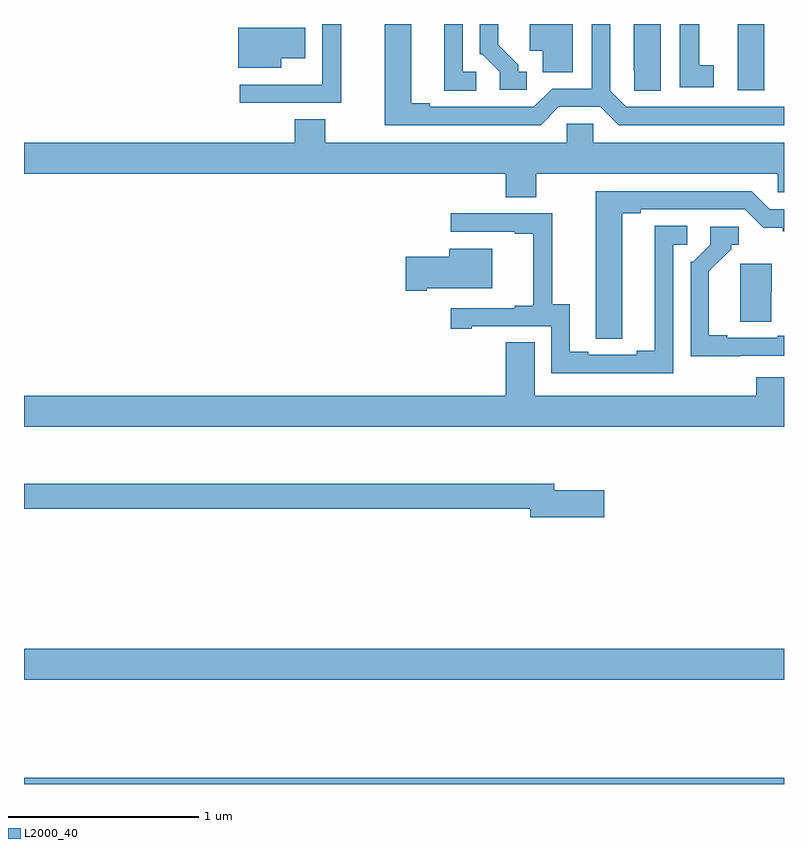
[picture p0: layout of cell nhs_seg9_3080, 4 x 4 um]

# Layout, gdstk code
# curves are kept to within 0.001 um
import gdstk
lib = gdstk.Library(unit=1e-6, precision=1e-09)
def R(c, l, rs):  # rectangles x0, y0, x1, y1
    for r in rs: c.add(gdstk.rectangle(r[:2], r[2:], *l))
def P(c, l, *ps):  # polygons
    for p in ps: c.add(gdstk.Polygon(p, *l))
L2000_40 = (2000, 40)

nhs_seg9_3080 = lib.new_cell('nhs_seg9_3080')
R(nhs_seg9_3080, L2000_40, [(287,1234.5,291,1234.532), (287,1235.048,291,1235.212), (290.756,1238.151,290.896,1238.5)])
P(nhs_seg9_3080, L2000_40, [(290.35,1238.5),(290.21,1238.5),(290.21,1238.257),(290.211,1238.257),(290.211,1238.149),(290.35,1238.149)],
  [(289.888,1238.5),(289.661,1238.5),(289.661,1238.36),(289.73,1238.36),(289.73,1238.245),(289.888,1238.245)],
  [(289.381,1238.25),(289.308,1238.25),(289.308,1238.5),(289.211,1238.5),(289.211,1238.149),(289.381,1238.149)],
  [(289.815,1238.064),(290.033,1238.064),(290.129,1237.968),(291,1237.968),(291,1238.064),(290.169,1238.064),(290.085,1238.148),(290.085,1238.5),(289.989,1238.5),(289.989,1238.16),(289.779,1238.16),(289.683,1238.064),(289.135,1238.064),(289.135,1238.084),(289.039,1238.084),(289.039,1238.5),(288.899,1238.5),(288.899,1237.968),(289.719,1237.968)],
  [(289.645,1238.25),(289.6,1238.25),(289.6,1238.285),(289.495,1238.39),(289.495,1238.5),(289.398,1238.5),(289.398,1238.34),(289.413,1238.34),(289.503,1238.25),(289.503,1238.154),(289.645,1238.154)],
  [(290.629,1238.282),(290.554,1238.282),(290.554,1238.5),(290.45,1238.5),(290.45,1238.166),(290.629,1238.166)],
  [(288.669,1238.5),(288.57,1238.5),(288.57,1238.182),(288.569,1238.182),(288.569,1238.181),(288.135,1238.181),(288.135,1238.085),(288.669,1238.085)],
  [(288.355,1238.321),(288.481,1238.321),(288.481,1238.479),(288.128,1238.479),(288.128,1238.27),(288.355,1238.27)],
  [(289.695,1237.712),(290.967,1237.712),(290.967,1237.614),(291,1237.614),(291,1237.876),(289.995,1237.876),(289.995,1237.974),(289.857,1237.974),(289.857,1237.876),(288.585,1237.876),(288.585,1238),(288.425,1238),(288.425,1237.876),(287,1237.876),(287,1237.712),(289.535,1237.712),(289.535,1237.588),(289.695,1237.588)],
  [(290.149,1237.504),(290.245,1237.504),(290.245,1237.524),(290.793,1237.524),(290.891,1237.427),(290.994,1237.427),(290.994,1237.408),(291,1237.408),(291,1237.524),(290.925,1237.524),(290.829,1237.62),(290.009,1237.62),(290.01,1236.844),(290.149,1236.844)],
  [(290.418,1237.338),(290.491,1237.338),(290.491,1237.439),(290.321,1237.439),(290.321,1236.779),(290.225,1236.779),(290.225,1236.759),(289.969,1236.759),(289.969,1236.774),(289.873,1236.774),(289.873,1237.025),(289.779,1237.025),(289.779,1237.503),(289.245,1237.503),(289.245,1237.407),(289.583,1237.407),(289.583,1237.395),(289.679,1237.395),(289.679,1237.018),(289.583,1237.018),(289.583,1237.005),(289.245,1237.005),(289.245,1236.897),(289.357,1236.897),(289.357,1236.909),(289.776,1236.909),(289.776,1236.663),(290.418,1236.663)],
  [(290.771,1236.753),(291,1236.753),(291,1236.86),(290.966,1236.86),(290.966,1236.849),(290.701,1236.849),(290.701,1236.862),(290.605,1236.862),(290.605,1237.198),(290.722,1237.315),(290.722,1237.338),(290.761,1237.338),(290.761,1237.434),(290.613,1237.434),(290.613,1237.338),(290.523,1237.248),(290.508,1237.248),(290.508,1236.752)],
  [(289.12,1237.109),(289.465,1237.109),(289.465,1237.318),(289.238,1237.318),(289.238,1237.275),(289.008,1237.275),(289.008,1237.097),(289.12,1237.097)],
  [(290.934,1237.092),(290.935,1237.092),(290.935,1237.237),(290.771,1237.237),(290.771,1236.934),(290.934,1236.934)],
  [(291,1236.642),(290.855,1236.642),(290.855,1236.544),(289.687,1236.544),(289.687,1236.824),(289.535,1236.824),(289.535,1236.544),(287,1236.544),(287,1236.38),(291,1236.38)],
  [(290.053,1236.045),(289.792,1236.045),(289.792,1236.079),(287,1236.079),(287,1235.95),(289.664,1235.95),(289.664,1235.903),(290.053,1235.903)])

lib.write_gds('nhs_seg9_3080.gds')
